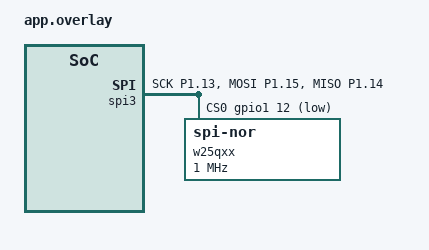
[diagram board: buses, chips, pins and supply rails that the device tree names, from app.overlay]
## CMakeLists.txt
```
cmake_minimum_required(VERSION 3.20.0)
find_package(Zephyr REQUIRED HINTS $ENV{ZEPHYR_BASE})

project(nrf52_w25qxx)

target_sources(app PRIVATE src/main.c)
```

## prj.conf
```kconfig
CONFIG_SPI=y
CONFIG_FLASH=y
CONFIG_SPI_NOR=y
# The chip on this module answers JEDEC 1C 30 17 (eON EN25Q64) and does not
# implement SFDP, so runtime SFDP discovery fails at init. The minimal driver
# uses the devicetree values (jedec-id, size) directly instead.
CONFIG_SPI_NOR_SFDP_MINIMAL=y

CONFIG_PRINTK=y
CONFIG_CONSOLE=y
CONFIG_UART_CONSOLE=y
CONFIG_MAIN_STACK_SIZE=2048

# Surface driver init errors (spi_nor: SFDP read failed / etc.) on the console.
CONFIG_LOG=y
CONFIG_LOG_DEFAULT_LEVEL=3
# Buffer log lines until the USB CDC client attaches, so early boot errors show.
CONFIG_LOG_MODE_DEFERRED=y

# Console is the XIAO's USB CDC ACM (board includes cdc_acm_serial.dtsi).
# NCS/Zephyr enable the new USB device stack (USB_DEVICE_STACK_NEXT) with the
# CDC ACM class automatically; do NOT enable the legacy CONFIG_USB_DEVICE_STACK
# here — both CDC ACM drivers then link and fail with a multiple definition.

CONFIG_GPIO=y
```

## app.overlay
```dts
/*
 * External W25QXX flash on Seeed XIAO nRF52840 Sense.
 *
 * Wiring (docs/W25QXX_XIAO_SPI_HELLO_WORLD_TEST.md):
 *   CS  -> D7 / P1.12   SCK -> D8 / P1.13
 *   MISO(DO) -> D9 / P1.14   MOSI(DI) -> D10 / P1.15
 *
 * Standard SPI on SPIM3, not the board's QSPI (module has no IO2/IO3).
 * Pinctrl node names must not be spi3_default/spi3_sleep: the board
 * pinctrl already defines those for other (P0.x) pins.
 */
#include <zephyr/dt-bindings/gpio/gpio.h>
#include <zephyr/dt-bindings/pinctrl/nrf-pinctrl.h>

/ {
	aliases {
		spi-flash0 = &w25qxx;
	};
};

&pinctrl {
	w25qxx_spi3_default: w25qxx_spi3_default {
		group1 {
			psels = <NRF_PSEL(SPIM_SCK, 1, 13)>,
				<NRF_PSEL(SPIM_MOSI, 1, 15)>,
				<NRF_PSEL(SPIM_MISO, 1, 14)>;
		};
	};

	w25qxx_spi3_sleep: w25qxx_spi3_sleep {
		group1 {
			psels = <NRF_PSEL(SPIM_SCK, 1, 13)>,
				<NRF_PSEL(SPIM_MOSI, 1, 15)>,
				<NRF_PSEL(SPIM_MISO, 1, 14)>;
			low-power-enable;
		};
	};
};

/* uart0 RX uses P1.12 (D7), which is the flash CS pin. */
&uart0 {
	status = "disabled";
};

/* Board enables spi2 on the same D8-D10 pins; this app uses spi3 instead. */
&spi2 {
	status = "disabled";
};

&spi3 {
	status = "okay";
	pinctrl-0 = <&w25qxx_spi3_default>;
	pinctrl-1 = <&w25qxx_spi3_sleep>;
	pinctrl-names = "default", "sleep";
	/* Pull-up keeps CS deasserted while the MCU pins are Hi-Z during boot. */
	cs-gpios = <&gpio1 12 (GPIO_ACTIVE_LOW | GPIO_PULL_UP)>;

	w25qxx: flash@0 {
		compatible = "jedec,spi-nor";
		reg = <0>;
	/* 1 MHz for bring-up over jumper wires; raise to 8 MHz once wiring is
	 * proven (see docs section 3 notes).
	 */
	spi-max-frequency = <1000000>;

	/* The module is labelled W25QXX but the chip answers JEDEC
	 * 1C 30 17 = eON EN25Q64 (8 MiB, no SFDP support). jedec-id must
	 * match the real chip because the minimal driver validates it at
	 * boot. Size is in BITS: 0x4000000 = 64 Mbit = 8 MiB.
	 */
	jedec-id = [1c 30 17];
	size = <0x4000000>;
	};
};
```

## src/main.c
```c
/*
 * W25QXX SPI bring-up / persistence test
 * See docs/W25QXX_XIAO_SPI_HELLO_WORLD_TEST.md for the full spec.
 */
#include <string.h>
#include <zephyr/device.h>
#include <zephyr/devicetree.h>
#include <zephyr/drivers/flash.h>
#include <zephyr/drivers/spi.h>
#include <zephyr/kernel.h>
#include <zephyr/sys/util.h>

#define TEST_OFFSET      0x001000 /* dedicated sector; 4 KB aligned */
#define TEST_SECTOR_SIZE 0x001000

/*
 * Raw SPI handle to the flash node (bus + CS from cs-gpios). Independent of
 * the jedec,spi-nor driver instance, so it works even when driver init
 * failed - used to diagnose wiring.
 */
static const struct spi_dt_spec w25qxx_spi =
	SPI_DT_SPEC_GET(DT_ALIAS(spi_flash0),
			SPI_OP_MODE_MASTER | SPI_TRANSFER_MSB | SPI_WORD_SET(8),
			0);

static int spi_rd(const uint8_t *cmd, size_t cmd_len, uint8_t *resp, size_t resp_len)
{
	const struct spi_buf tx_buf = {.buf = cmd, .len = cmd_len};
	const struct spi_buf_set tx = {.buffers = &tx_buf, .count = 1};
	const struct spi_buf rx_buf = {.buf = resp, .len = resp_len};
	const struct spi_buf_set rx = {.buffers = &rx_buf, .count = 1};

	return spi_transceive_dt(&w25qxx_spi, &tx, &rx);
}

static void jedec_diag(void)
{
	static const uint8_t rdid[4] = {0x9F, 0, 0, 0}; /* cmd + 3 dummy clocks */
	uint8_t a[4] = {0}, b[4] = {0}, c[4] = {0};

	if (!device_is_ready(w25qxx_spi.bus)) {
		printk("DIAG: SPI bus not ready\n");
		return;
	}

	if (spi_rd(rdid, 4, a, 4) != 0 || spi_rd(rdid, 4, b, 4) != 0 ||
	    spi_rd(rdid, 4, c, 4) != 0) {
		printk("DIAG: JEDEC (0x9F) transfer failed\n");
		return;
	}

	/* Full duplex: resp[0] is garbage (clocked out while the command is
	 * sent), the 3-byte JEDEC ID is resp[1..3].
	 */
	const uint8_t *ia = &a[1];
	const uint8_t *ib = &b[1];
	const uint8_t *ic = &c[1];

	printk("DIAG: JEDEC ID (3x): %02X %02X %02X | %02X %02X %02X | %02X %02X %02X\n",
	       ia[0], ia[1], ia[2], ib[0], ib[1], ib[2], ic[0], ic[1], ic[2]);

	if (memcmp(ia, ib, 3) != 0 || memcmp(ib, ic, 3) != 0) {
		printk("DIAG: Hasil berubah-ubah tiap baca -> kabel longgar, CS tidak\n");
		printk("DIAG: stabil, atau VCC/GND lemah. Tekan semua jumper, cek 3V3.\n");
		return;
	}

	if ((ia[0] == 0xFF && ia[1] == 0xFF && ia[2] == 0xFF) ||
	    (ia[0] == 0x00 && ia[1] == 0x00 && ia[2] == 0x00)) {
		printk("DIAG: W25QXX tidak merespons. Cek hardware:\n");
		printk("DIAG: VCC ke 3V3 (bukan 5V), GND sama, CS->D7, SCK->D8,\n");
		printk("DIAG: DO->D9 (MISO), DI->D10 (MOSI), jumper pendek\n");
		return;
	}

	if (ia[0] == 0xEF || ia[0] == 0x1C) {
		printk("DIAG: Manufacturer: %s (0x%02X)\n",
		       ia[0] == 0xEF ? "Winbond" : "eON", ia[0]);
		switch (ia[2]) {
		case 0x15:
			printk("DIAG: 2 MiB chip - overlay: jedec-id=[%02x %02x 15], size=<0x1000000>\n",
			       ia[0], ia[1]);
			break;
		case 0x16:
			printk("DIAG: 4 MiB chip - overlay: jedec-id=[%02x %02x 16], size=<0x2000000>\n",
			       ia[0], ia[1]);
			break;
		case 0x17:
			printk("DIAG: 8 MiB chip - sesuai overlay (size=<0x4000000>)\n");
			break;
		case 0x18:
			printk("DIAG: 16 MiB chip - overlay: jedec-id=[%02x %02x 18], size=<0x8000000>\n",
			       ia[0], ia[1]);
			break;
		default:
			printk("DIAG: Density byte 0x%02X tidak dikenal\n", ia[2]);
			break;
		}
		return;
	}

	printk("DIAG: Manufacturer 0x%02X tidak dikenal (ID: %02X %02X %02X)\n",
	       ia[0], ia[0], ia[1], ia[2]);
}

static const char expected[] = "Hello World";
static char readback[sizeof(expected)];

static bool is_blank(const uint8_t *buf, size_t len)
{
	for (size_t i = 0; i < len; i++) {
		if (buf[i] != 0xFF) {
			return false;
		}
	}
	return true;
}

int main(void)
{
	const struct device *flash = DEVICE_DT_GET(DT_ALIAS(spi_flash0));
	int err;

	jedec_diag();

	if (!device_is_ready(flash)) {
		printk("ERROR: W25QXX device is not ready\n");
		return 0;
	}

	err = flash_read(flash, TEST_OFFSET, readback, sizeof(readback));
	if (err) {
		printk("ERROR: flash_read failed: %d\n", err);
		return 0;
	}

	if (memcmp(readback, expected, sizeof(expected)) == 0) {
		printk("Hello World sudah tersimpan\n");
		return 0;
	}

	if (is_blank((const uint8_t *)readback, sizeof(readback))) {
		printk("Hello World belum tersimpan; memasukkan Hello World\n");
	} else {
		printk("Test sector contains different data; replacing only test sector\n");
	}

	err = flash_erase(flash, TEST_OFFSET, TEST_SECTOR_SIZE);
	if (err) {
		printk("ERROR: sector erase failed: %d\n", err);
		return 0;
	}

	err = flash_write(flash, TEST_OFFSET, expected, sizeof(expected));
	if (err) {
		printk("ERROR: write failed: %d\n", err);
		return 0;
	}

	memset(readback, 0, sizeof(readback));
	err = flash_read(flash, TEST_OFFSET, readback, sizeof(readback));
	if (err || memcmp(readback, expected, sizeof(expected)) != 0) {
		printk("ERROR: readback verification failed: %d\n", err);
		return 0;
	}

	printk("PASS: Hello World berhasil ditulis dan diverifikasi\n");
	printk("Reset/power-cycle board: boot berikutnya harus mengatakan tersimpan\n");
	return 0;
}
```
